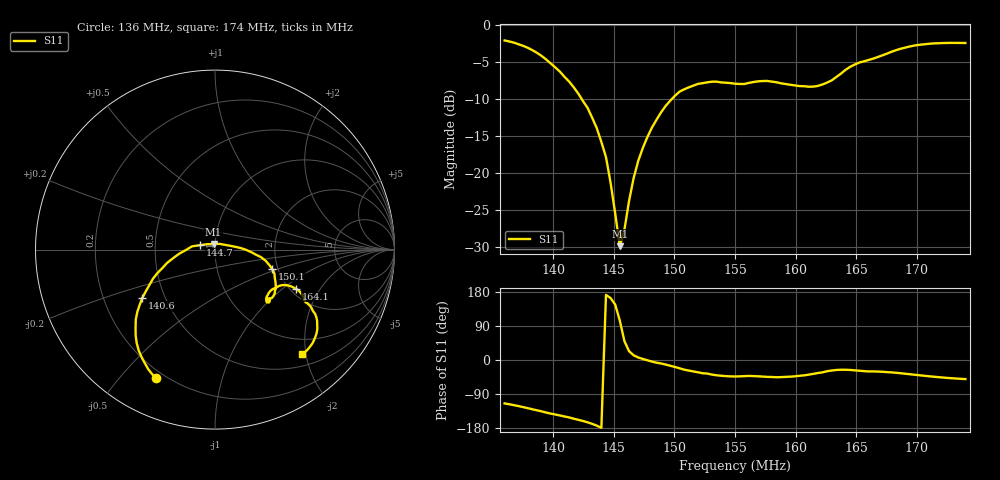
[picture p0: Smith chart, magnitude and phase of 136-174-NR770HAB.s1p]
# HZ S RI R 50
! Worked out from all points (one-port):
!   101 points, 136 MHz to 174 MHz, reference 50 ohm
!   lowest |S11| = -29.8 dB at 145.5 MHz (marker M1), VSWR 1.07, Z = 49.1 + j3.08 ohm
!   |S11| at or under -10 dB: 142.4 MHz to 149.8 MHz (7.397 MHz wide, 5.06 % of centre)
!   S11 on the Smith chart (normalised r, x): 136 MHz: 0.17, -0.63; 140.6 MHz: 0.37, -0.26; 144.7 MHz: 0.85, +0.04; 150.1 MHz: 1.86, -0.45; 164.1 MHz: 2.15, -1.24; 174 MHz: 0.70, -1.92
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1.36e8  -0.3287 -0.7175
1.3828e8  -0.4362 -0.5211
1.3942e8  -0.4414 -0.3887
1.4056e8  -0.4048 -0.2695
1.4094e8  -0.3844 -0.2303
1.4284e8  -0.2669 -0.0742
1.436e8  -0.2006 -0.0238
1.4436e8  -0.1274 0.0184
1.4474e8  -0.0828 0.0247
1.455e8  -0.00786 0.0313
1.4588e8  0.0269 0.0319
1.4664e8  0.0908 0.0199
1.474e8  0.1486 0.00716
1.4892e8  0.2561 -0.0418
1.5006e8  0.3176 -0.1061
1.5044e8  0.331 -0.1332
1.531e8  0.3251 -0.2592
1.55e8  0.2925 -0.2771
1.5766e8  0.2998 -0.2953
1.5994e8  0.2864 -0.2682
1.6184e8  0.3217 -0.2197
1.6298e8  0.3761 -0.1975
1.6412e8  0.4503 -0.2176
1.645e8  0.4701 -0.2317
1.6716e8  0.537 -0.3231
1.6944e8  0.5703 -0.4389
1.7134e8  0.5422 -0.5235
1.74e8  0.4837 -0.5842
